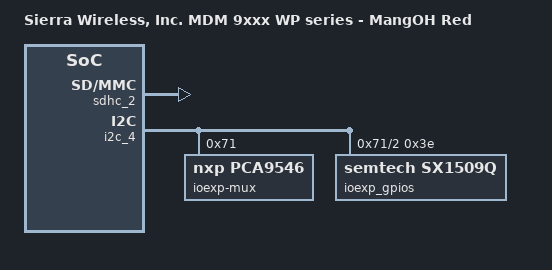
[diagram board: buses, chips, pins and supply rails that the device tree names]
/*
 * Copyright (c) 2019, The Linux Foundation. All rights reserved.
 *
 * This program is free software; you can redistribute it and/or modify
 * it under the terms of the GNU General Public License version 2 and
 * only version 2 as published by the Free Software Foundation.
 *
 * This program is distributed in the hope that it will be useful,
 * but WITHOUT ANY WARRANTY; without even the implied warranty of
 * MERCHANTABILITY or FITNESS FOR A PARTICULAR PURPOSE.  See the
 * GNU General Public License for more details.
 */

/ {
	model = "Sierra Wireless, Inc. MDM 9xxx WP series - MangOH Red";
	compatible = "qcom,mdm9607-mtp", "qcom,mdm9607", "qcom,mtp";
	qcom,board-id = <8 0x82>;
};

&sdhc_2 {
	status = "ok";
	cap-power-off-card;
	keep-power-in-suspend;
};

&soc {
	sierra_gpio {
		alias-BATTGAUGE_INT		= <&ioexp_gpios 0 0>;
		alias-BATTCHRGR_INT		= <&ioexp_gpios 1 0>;
		/* No GPIO 2 */
		alias-GPIO_EXP_RPI_1		= <&ioexp_gpios 3 0>;
		alias-GPIO_EXP_RPI_2		= <&ioexp_gpios 4 0>;
		alias-MTK_TO_WP_UART_EN		= <&ioexp_gpios 5 0>;
		alias-WIFI_UART1_TX		= <&ioexp_gpios 6 0>;
		alias-GPIO_EXP_RPI_3		= <&ioexp_gpios 7 0>;
		alias-LED_CARD_DETECT_IOT0	= <&ioexp_gpios 8 0>;
		alias-SDIO_SEL			= <&ioexp_gpios 9 0>;
		alias-POWER_FAIL_INDIC		= <&ioexp_gpios 10 0>;
		alias-SENSOR_INT1		= <&ioexp_gpios 11 0>;
		alias-SENSOR_INT2		= <&ioexp_gpios 12 0>;
		alias-PCM_EXP1_SEL		= <&ioexp_gpios 13 0>;
		alias-GENERIC_PUSH_BUTTON	= <&ioexp_gpios 14 0>;
		alias-CONS_DIR			= <&ioexp_gpios 15 0>;
	};
};

&i2c_4 {
	ioexp-mux@71 {
		// IO expander is below the I2C switch PCA9546
		compatible = "nxp,pca9546";
		reg = <0x71>;
		#address-cells = <1>;
		#size-cells = <0>;

		i2c@4 {
			// IO expander 1: channel 2
			#address-cells = <1>;
			#size-cells = <0>;
			reg = <2>;
			ioexp_gpios: io_exp@3e {
				#gpio-cells = <2>;
				gpio-controller;
				compatible = "semtech,sx1509q";
				reg = <0x3e>;
			};
		};
	};
};

